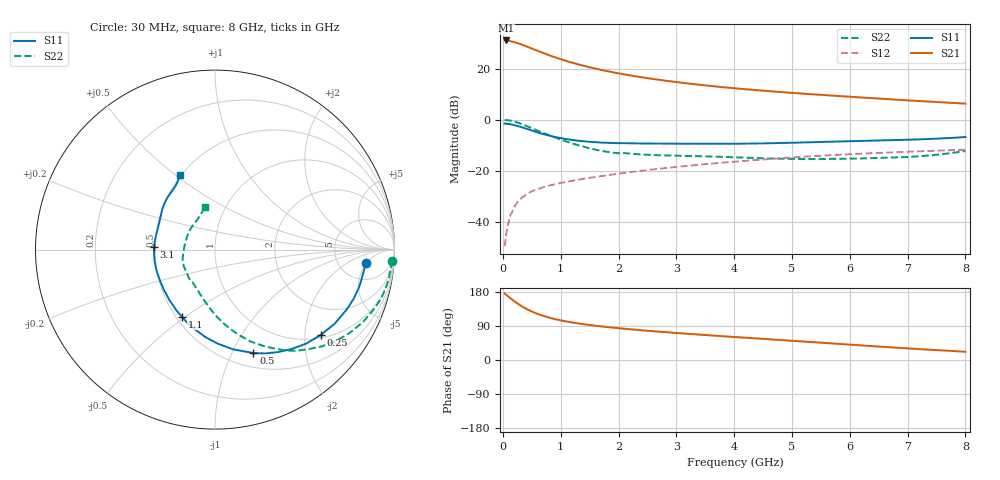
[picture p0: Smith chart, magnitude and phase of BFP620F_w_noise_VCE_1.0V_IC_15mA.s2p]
! Infineon Technologies  Discrete & RF Semiconductors
! BFP620F
! VCE =  1.0 V,  IC =  15 mA
! Common Emitter S-Parameters:  Dec 2014
# GHz  S  MA  R  50
!  f  S11  S21  S12  S22
! GHz  MAG  ANG  MAG  ANG  MAG  ANG  MAG  ANG
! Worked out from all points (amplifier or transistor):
!   95 points, 30 MHz to 8 GHz, reference 50 ohm
!   highest |S21| = 31.1 dB at 50 MHz (marker M1)
!   |S21| within 3 dB of that: start of sweep to 482.7 MHz
!   unconditionally stable (mu >= 1): 3.396 GHz to end of sweep
!   at 300 MHz: K = 0.22, MSG = 30.5 dB, |S12| = -31.3 dB
!   at 3.3 GHz: K = 1.00, MSG = 15.9 dB, |S12| = -17.9 dB
!   at 8 GHz: K = 1.07, MAG = 7.4 dB, |S12| = -11.8 dB
!   lowest NFmin = 0.71 dB at 450 MHz
!   S11 on the Smith chart (normalised r, x): 30 MHz: 9, -5; 250 MHz: 1.08, -2.40; 500 MHz: 0.65, -1.21; 1.1 GHz: 0.54, -0.48; 3.1 GHz: 0.49, +0.02; 8 GHz: 0.49, +0.52
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0.03  0.8423 -4.9  36 175.9  0.0033 82.8  0.986 -3.6
0.05  0.8374 -8.4  36.04 173.2  0.0052 76.9  0.9847 -6.5
0.09  0.8288 -14.7  35.61 168.1  0.0095 81.9  0.9759 -11.9
0.14  0.8109 -22.7  34.63 161.8  0.0144 80.4  0.955 -18.5
0.2  0.784 -31.9  33.28 154.9  0.0194 75.4  0.919 -25.9
0.25  0.7568 -39.0  32.03 149.4  0.024 72.5  0.8827 -31.7
0.3  0.7299 -45.8  30.65 144.5  0.0273 69.1  0.8441 -37.2
0.4  0.6696 -58.6  27.83 135.4  0.0337 64.6  0.7606 -46.8
0.5  0.6151 -69.6  25.06 128.0  0.0394 60.9  0.6844 -55.2
0.6  0.5648 -79.7  22.58 121.6  0.0434 58.6  0.6118 -62.3
0.7  0.5236 -88.5  20.4 116.3  0.0474 56.5  0.5504 -68.7
0.8  0.4897 -96.4  18.48 111.9  0.051 55.5  0.4959 -74.1
0.9  0.4595 -103.7  16.86 108.0  0.0543 54.6  0.4491 -79.3
1.1  0.4162 -116.4  14.23 101.6  0.0605 53.6  0.3732 -88.5
1.4  0.3789 -132.3  11.46 94.4  0.0693 53.2  0.2946 -100.9
2  0.3475 -155.9  8.158 84.0  0.0876 52.6  0.2205 -124.9
2.7  0.341 -174.2  6.09 74.8  0.1091 50.9  0.2009 -144.8
3.1  0.3394 177.7  5.321 70.3  0.1215 49.4  0.1954 -153.0
4.1  0.3395 160.8  4.066 59.8  0.1534 44.8  0.1817 -169.5
5.4  0.3639 144.8  3.138 46.7  0.1938 37.1  0.1697 164.1
6.7  0.397 129.9  2.524 33.6  0.2282 28.0  0.1809 135.5
8  0.4579 115.3  2.077 21.6  0.2582 19.0  0.2432 103.5
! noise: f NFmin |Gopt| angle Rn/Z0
0.45  0.71  0.15  6  0.2
0.9  0.77  0.14  18  0.18
1.5  0.82  0.13  20  0.13
1.8  0.85  0.13  21  0.11
1.9  0.86  0.09  36  0.14
2.4  0.9  0.08  52  0.12
3.5  0.98  0.06  85  0.13
5.5  1.13  0.11  208  0.08
6  1.17  0.11  235  0.13
